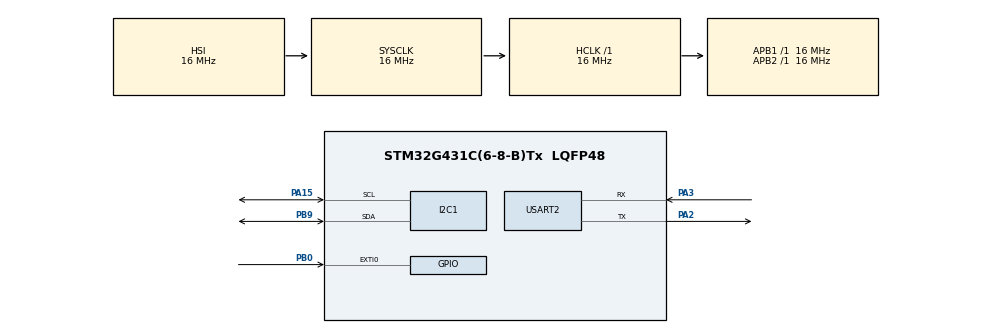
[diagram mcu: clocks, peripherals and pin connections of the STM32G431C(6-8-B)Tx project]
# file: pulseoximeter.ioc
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Mcu.Family=STM32G4
Mcu.Name=STM32G431C(6-8-B)Tx
Mcu.Package=LQFP48
NVIC.EXTI0_IRQn=true\:0\:0\:false\:false\:true\:true\:true\:true
NVIC.I2C1_ER_IRQn=true\:0\:0\:false\:false\:true\:true\:true\:true
NVIC.I2C1_EV_IRQn=true\:0\:0\:false\:false\:true\:true\:true\:true
NVIC.PriorityGroup=NVIC_PRIORITYGROUP_4
NVIC.USART2_IRQn=true\:0\:0\:false\:false\:true\:true\:true\:true
PA15.Mode=I2C
PA15.Signal=I2C1_SCL
PA2.Mode=Asynchronous
PA2.Signal=USART2_TX
PA3.Mode=Asynchronous
PA3.Signal=USART2_RX
PB0.Signal=GPXTI0
PB9.Mode=I2C
PB9.Signal=I2C1_SDA
ProjectManager.HeapSize=0x200
ProjectManager.StackSize=0x400
ProjectManager.TargetToolchain=STM32CubeIDE
RCC.AHBFreq_Value=16000000
RCC.APB1Freq_Value=16000000
RCC.APB1TimFreq_Value=16000000
RCC.APB2Freq_Value=16000000
RCC.APB2TimFreq_Value=16000000
RCC.CortexFreq_Value=16000000
RCC.EXTERNAL_CLOCK_VALUE=12288000
RCC.HCLKFreq_Value=16000000
RCC.HSE_VALUE=8000000
RCC.HSI48_VALUE=48000000
RCC.HSI_VALUE=16000000
RCC.LSE_VALUE=32768
RCC.SYSCLKFreq_VALUE=16000000
RCC.USBFreq_Value=64000000
RCC.VCOOutputFreq_Value=128000000
USART2.VirtualMode-Asynchronous=VM_ASYNC
board=custom

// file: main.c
/* USER CODE BEGIN Header */
/**
  **
  * @file           : main.c
  * @brief          : Main program body
  **
  * @attention
  *
  * Copyright (c) 2023 STMicroelectronics.
  * All rights reserved.
  *
  * This software is licensed under terms that can be found in the LICENSE file
  * in the root directory of this software component.
  * If no LICENSE file comes with this software, it is provided AS-IS.
  *
  **
  */
/* USER CODE END Header */
#include "main.h"

/* USER CODE BEGIN Includes */
#include "max30100_for_stm32_hal.h"
#include <math.h>
#include <stdio.h>
#include <stdbool.h>
/* USER CODE END Includes */

I2C_HandleTypeDef hi2c1;

UART_HandleTypeDef huart2;

/* USER CODE BEGIN PV */

const float RATIO_R = 1.0;    // Empirical constant (You may need to calibrate this value)
const float RATIO_IR = 1.0;   // Empirical constant (You may need to calibrate this value)
#define SAMPLE_RATE 100  // Sample rate of the MAX30100 in Hz (adjust this if needed)
/* USER CODE END PV */

void SystemClock_Config(void);
static void MX_GPIO_Init(void);
static void MX_USART2_UART_Init(void);
static void MX_I2C1_Init(void);
/* USER CODE BEGIN PFP */
float calculateSpo2(uint32_t redValue, uint32_t irValue);
float calculateHeartRate(uint32_t irValue);
/* USER CODE END PFP */

int main(void)
{

  /* MCU Configuration--------------------------------------------------------*/

  /* Reset of all peripherals, Initializes the Flash interface and the Systick. */
  HAL_Init();

  /* Configure the system clock */
  SystemClock_Config();

  /* Initialize all configured peripherals */
  MX_GPIO_Init();
  MX_USART2_UART_Init();
  MX_I2C1_Init();
  /* USER CODE BEGIN 2 */
  MAX30100_Init(&hi2c1, &huart2);
  MAX30100_SetSpO2SampleRate(MAX30100_SPO2SR_DEFAULT);
  MAX30100_SetLEDPulseWidth(MAX30100_LEDPW_DEFAULT);
  MAX30100_SetLEDCurrent(MAX30100_LEDCURRENT_DEFAULT, MAX30100_LEDCURRENT_DEFAULT);
  MAX30100_SetMode(MAX30100_SPO2_MODE);

  /* USER CODE END 2 */

  /* Infinite loop */
  while (1)
  {

	    /* USER CODE BEGIN 3 */
		  MAX30100_ReadFIFO(); // Read data from the MAX30100 FIFO
		  // Process and use the data as needed...

		  // Example: Plot data to UART (for debugging)
		  uint32_t irValue = *_max30100_ir_sample;
		  uint32_t redValue = *_max30100_red_sample;

	      // Calculate SpO2 and heart rate
	      float spo2 = calculateSpo2(redValue, irValue);
	      char buffer[100];
	      sprintf(buffer, "%.2f\n", spo2);
	      HAL_UART_Transmit(&huart2, (uint8_t *)buffer, strlen(buffer), HAL_MAX_DELAY);

//	  MAX30100_PlotBothToUART(&huart2, _max30100_red_sample, _max30100_ir_sample, 16);
      //MAX30100_PlotBothToUART(&huart2, _max30100_red_sample, _max30100_ir_sample, 16);

  }
  /* USER CODE END 3 */
}

float calculateHeartRate(uint32_t irValue) {
    static uint32_t previousValue = 0;
//    static uint32_t peakValue = 0;
    static uint32_t peakTime = 0;
    static bool isPeak = false;

    // Check if the current value is greater than the previous value and greater than a threshold (adjust threshold if needed)
    if (irValue > previousValue && irValue > 500) {
        if (!isPeak) {
            // Detected a peak
//            peakValue = irValue;
            peakTime = HAL_GetTick();
            isPeak = true;
        }
    } else {
        // Not a peak
        isPeak = false;
    }

    previousValue = irValue;

    // Calculate the time between peaks (in seconds)
    float timeBetweenPeaks = (HAL_GetTick() - peakTime) / 1000.0;

    // Calculate heart rate (beats per minute)
//    float heartRate = 60.0 / timeBetweenPeaks;
    float heartRate = 60.01;
    if (timeBetweenPeaks > 0) {
        heartRate = 60.0 / timeBetweenPeaks;
    }

    return heartRate;
}
float calculateSpo2(uint32_t redValue, uint32_t irValue) {
    // Calculate the ratio of red and IR signals (empirical constants included)
//    float ratio = (float)redValue / (float)irValue;

    // Calculate SpO2 using the Beer-Lambert law
    // Empirical constants RATIO_R and RATIO_IR are used for calibration
    // The logarithm base can be adjusted based on sensor sensitivity
    float spo2 = ((RATIO_R * irValue) / (RATIO_IR * redValue))*100;

    // Limit the SpO2 range to 0-100%
    spo2 = fmaxf(0.0, fminf(spo2, 100.0));

    return spo2;
}

void SystemClock_Config(void)
{
  RCC_OscInitTypeDef RCC_OscInitStruct = {0};
  RCC_ClkInitTypeDef RCC_ClkInitStruct = {0};

  /** Configure the main internal regulator output voltage
  */
  HAL_PWREx_ControlVoltageScaling(PWR_REGULATOR_VOLTAGE_SCALE1);

  /** Initializes the RCC Oscillators according to the specified parameters
  * in the RCC_OscInitTypeDef structure.
  */
  RCC_OscInitStruct.OscillatorType = RCC_OSCILLATORTYPE_HSI;
  RCC_OscInitStruct.HSIState = RCC_HSI_ON;
  RCC_OscInitStruct.HSICalibrationValue = RCC_HSICALIBRATION_DEFAULT;
  RCC_OscInitStruct.PLL.PLLState = RCC_PLL_NONE;
  if (HAL_RCC_OscConfig(&RCC_OscInitStruct) != HAL_OK)
  {
    Error_Handler();
  }

  /** Initializes the CPU, AHB and APB buses clocks
  */
  RCC_ClkInitStruct.ClockType = RCC_CLOCKTYPE_HCLK|RCC_CLOCKTYPE_SYSCLK
                              |RCC_CLOCKTYPE_PCLK1|RCC_CLOCKTYPE_PCLK2;
  RCC_ClkInitStruct.SYSCLKSource = RCC_SYSCLKSOURCE_HSI;
  RCC_ClkInitStruct.AHBCLKDivider = RCC_SYSCLK_DIV1;
  RCC_ClkInitStruct.APB1CLKDivider = RCC_HCLK_DIV1;
  RCC_ClkInitStruct.APB2CLKDivider = RCC_HCLK_DIV1;

  if (HAL_RCC_ClockConfig(&RCC_ClkInitStruct, FLASH_LATENCY_0) != HAL_OK)
  {
    Error_Handler();
  }
}

static void MX_I2C1_Init(void)
{

  hi2c1.Instance = I2C1;
  hi2c1.Init.Timing = 0x00303D5B;
  hi2c1.Init.OwnAddress1 = 0;
  hi2c1.Init.AddressingMode = I2C_ADDRESSINGMODE_7BIT;
  hi2c1.Init.DualAddressMode = I2C_DUALADDRESS_DISABLE;
  hi2c1.Init.OwnAddress2 = 0;
  hi2c1.Init.OwnAddress2Masks = I2C_OA2_NOMASK;
  hi2c1.Init.GeneralCallMode = I2C_GENERALCALL_DISABLE;
  hi2c1.Init.NoStretchMode = I2C_NOSTRETCH_DISABLE;
  if (HAL_I2C_Init(&hi2c1) != HAL_OK)
  {
    Error_Handler();
  }

  /** Configure Analogue filter
  */
  if (HAL_I2CEx_ConfigAnalogFilter(&hi2c1, I2C_ANALOGFILTER_ENABLE) != HAL_OK)
  {
    Error_Handler();
  }

  /** Configure Digital filter
  */
  if (HAL_I2CEx_ConfigDigitalFilter(&hi2c1, 0) != HAL_OK)
  {
    Error_Handler();
  }

}

static void MX_USART2_UART_Init(void)
{

  huart2.Instance = USART2;
  huart2.Init.BaudRate = 115200;
  huart2.Init.WordLength = UART_WORDLENGTH_8B;
  huart2.Init.StopBits = UART_STOPBITS_1;
  huart2.Init.Parity = UART_PARITY_NONE;
  huart2.Init.Mode = UART_MODE_TX_RX;
  huart2.Init.HwFlowCtl = UART_HWCONTROL_NONE;
  huart2.Init.OverSampling = UART_OVERSAMPLING_16;
  huart2.Init.OneBitSampling = UART_ONE_BIT_SAMPLE_DISABLE;
  huart2.Init.ClockPrescaler = UART_PRESCALER_DIV1;
  huart2.AdvancedInit.AdvFeatureInit = UART_ADVFEATURE_NO_INIT;
  if (HAL_UART_Init(&huart2) != HAL_OK)
  {
    Error_Handler();
  }
  if (HAL_UARTEx_SetTxFifoThreshold(&huart2, UART_TXFIFO_THRESHOLD_1_8) != HAL_OK)
  {
    Error_Handler();
  }
  if (HAL_UARTEx_SetRxFifoThreshold(&huart2, UART_RXFIFO_THRESHOLD_1_8) != HAL_OK)
  {
    Error_Handler();
  }
  if (HAL_UARTEx_DisableFifoMode(&huart2) != HAL_OK)
  {
    Error_Handler();
  }

}

static void MX_GPIO_Init(void)
{
  GPIO_InitTypeDef GPIO_InitStruct = {0};

  /* GPIO Ports Clock Enable */
  __HAL_RCC_GPIOA_CLK_ENABLE();
  __HAL_RCC_GPIOB_CLK_ENABLE();

  /*Configure GPIO pin : PB0 */
  GPIO_InitStruct.Pin = GPIO_PIN_0;
  GPIO_InitStruct.Mode = GPIO_MODE_IT_RISING;
  GPIO_InitStruct.Pull = GPIO_NOPULL;
  HAL_GPIO_Init(GPIOB, &GPIO_InitStruct);

  /* EXTI interrupt init*/
  HAL_NVIC_SetPriority(EXTI0_IRQn, 0, 0);
  HAL_NVIC_EnableIRQ(EXTI0_IRQn);

}

void Error_Handler(void)
{
  __disable_irq();
  while (1)
  {
  }
}
